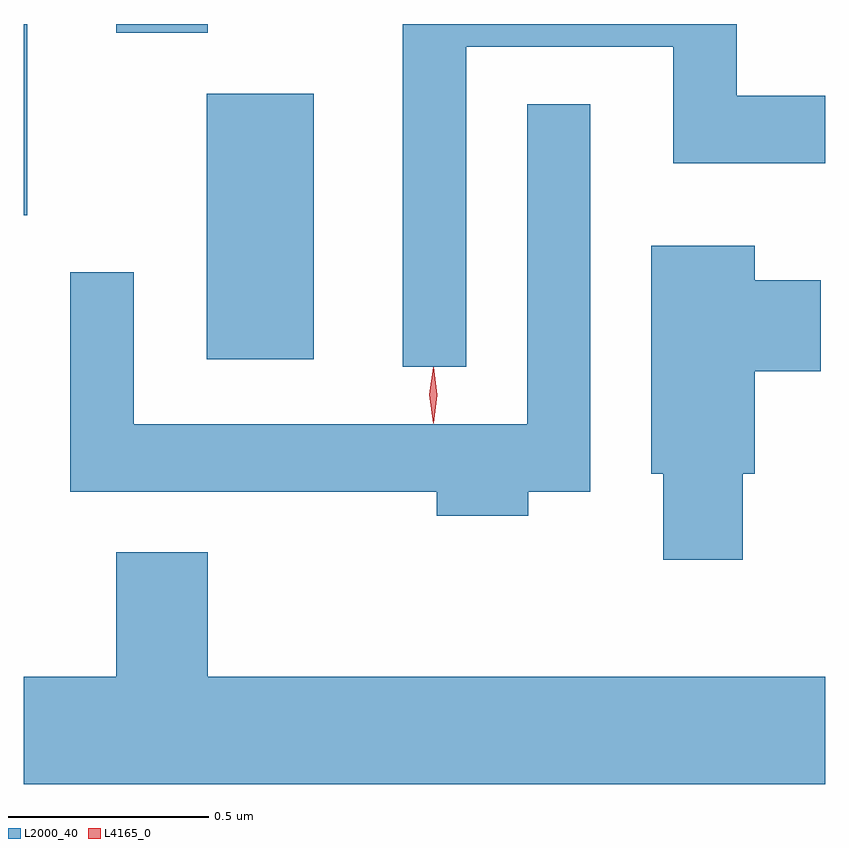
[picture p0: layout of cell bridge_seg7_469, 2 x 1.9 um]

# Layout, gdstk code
import gdstk
lib = gdstk.Library(unit=1e-6, precision=1e-09)
def R(c, l, rs):  # rectangles x0, y0, x1, y1
    for r in rs: c.add(gdstk.rectangle(r[:2], r[2:], *l))
def P(c, l, *ps):  # polygons
    for p in ps: c.add(gdstk.Polygon(p, *l))
L2000_40 = (2000, 40)
L4165_0 = (4165, 0)

bridge_seg7_469 = lib.new_cell('bridge_seg7_469')
R(bridge_seg7_469, L2000_40, [(1079.956,1704.276,1080.224,1704.939), (1079.5,1704.636,1079.509,1705.113), (1079.731,1705.091,1079.959,1705.113)])
P(bridge_seg7_469, L2000_40, [(1080.604,1705.056),(1081.121,1705.056),(1081.121,1704.766),(1081.5,1704.766),(1081.5,1704.934),(1081.279,1704.934),(1081.279,1705.113),(1080.446,1705.113),(1080.446,1704.258),(1080.604,1704.258)],
  [(1080.759,1703.946),(1080.914,1703.946),(1080.914,1704.913),(1080.756,1704.913),(1080.756,1704.114),(1079.774,1704.114),(1079.774,1704.493),(1079.616,1704.493),(1079.616,1703.946),(1080.531,1703.946),(1080.531,1703.886),(1080.759,1703.886)],
  [(1081.294,1703.991),(1081.324,1703.991),(1081.324,1704.246),(1081.489,1704.246),(1081.489,1704.474),(1081.324,1704.474),(1081.324,1704.559),(1081.066,1704.559),(1081.066,1703.991),(1081.096,1703.991),(1081.096,1703.776),(1081.294,1703.776)],
  [(1081.5,1703.484),(1079.959,1703.484),(1079.959,1703.794),(1079.731,1703.794),(1079.731,1703.484),(1079.5,1703.484),(1079.5,1703.216),(1081.5,1703.216)])
P(bridge_seg7_469, L4165_0, [(1080.522,1704.117),(1080.522,1704.117),(1080.512,1704.187),(1080.522,1704.256),(1080.522,1704.256),(1080.523,1704.256),(1080.532,1704.187),(1080.523,1704.117)])

lib.write_gds('bridge_seg7_469.gds')
